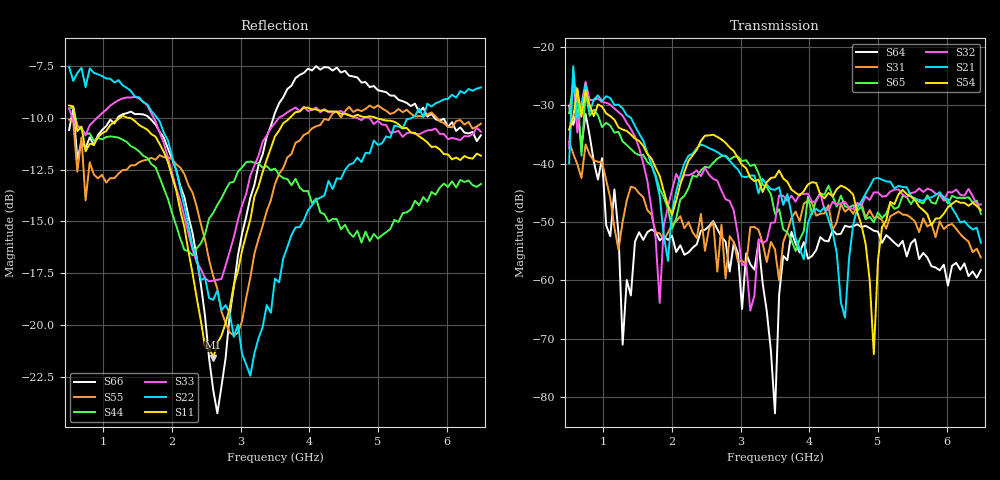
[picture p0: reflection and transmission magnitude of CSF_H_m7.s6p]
!Keysight Technologies,M9804A,MY58100912,A.14.10.03
!Date: Thursday, April 27, 2023 10:28:33
!Correction: S11(C  6-Port  )
!S12(C  6-Port  )
!S13(C  6-Port  )
!S14(C  6-Port  )
!S15(C  6-Port  )
!S16(C  6-Port  )
!S21(C  6-Port  )
!S22(C  6-Port  )
!S23(C  6-Port  )
!S24(C  6-Port  )
!S25(C  6-Port  )
!S26(C  6-Port  )
!S31(C  6-Port  )
!S32(C  6-Port  )
!S33(C  6-Port  )
!S34(C  6-Port  )
!S35(C  6-Port  )
!S36(C  6-Port  )
!S41(C  6-Port  )
!S42(C  6-Port  )
!S43(C  6-Port  )
!S44(C  6-Port  )
!S45(C  6-Port  )
!S46(C  6-Port  )
!S51(C  6-Port  )
!S52(C  6-Port  )
!S53(C  6-Port  )
!S54(C  6-Port  )
!S55(C  6-Port  )
!S56(C  6-Port  )
!S61(C  6-Port  )
!S62(C  6-Port  )
!S63(C  6-Port  )
!S64(C  6-Port  )
!S65(C  6-Port  )
!S66(C  6-Port  )
!S6P File: Measurement: :
# Hz S  RI  R 50
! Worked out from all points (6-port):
!   101 points, 500 MHz to 6.5 GHz, reference 50 ohm
!   strongest paths, dB at 500 MHz, 2 GHz, 3.5 GHz, 5 GHz, 6.5 GHz:
!     S54: -34.2, -48.8, -42.3, -56.6, -48.0
!     S21: -39.9, -48.1, -44.5, -42.4, -53.6
!     S32: -37.3, -44.5, -50.1, -44.9, -47.0
!     S65: -31.3, -51.2, -48.6, -48.4, -48.6
!     S31: -36.3, -50.4, -54.7, -49.1, -56.1
!     S64: -30.1, -52.4, -82.8, -51.7, -58.2
!   lowest |S11| = -21.6 dB at 2.6 GHz (marker M1), VSWR 1.18, Z = 42.6 + j2.05 ohm
!   |S11| at or under -10 dB: 588.2 MHz to 1.237 GHz (648.5 MHz wide, 71.1 % of centre); 1.389 GHz to 3.714 GHz (2.325 GHz wide, 91.1 % of centre); 4.976 GHz to end of sweep
